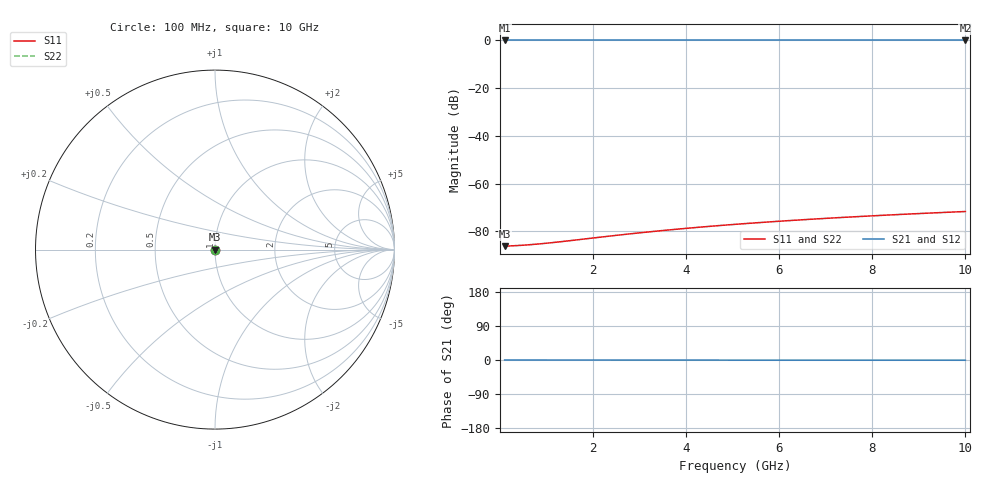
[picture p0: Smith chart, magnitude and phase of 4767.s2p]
# Hz S RI R 50.00
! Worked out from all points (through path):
!   100 points, 100 MHz to 10 GHz, reference 50 ohm
!   highest |S21| = 0.00 dB at 100 MHz (marker M1); lowest = 0.0 dB at 10 GHz (marker M2)
!   lowest |S11| = -86.1 dB at 100 MHz (marker M3), VSWR 1.00, Z = 50 + j0.000263 ohm
!   |S11| at or under -10 dB: start of sweep to end of sweep
!   |S22| runs from -86.1 to -71.6 dB; largest |S21 - S12| = 0
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1e8  4.92e-05 2.63e-06  0.9999 -0.000113  0.9999 -0.000113  4.92e-05 2.63e-06
1.8e9  5.08e-05 4.73e-05  0.9999 -0.00204  0.9999 -0.00204  5.08e-05 4.73e-05
3.2e9  5.13e-05 8.36e-05  0.9999 -0.00363  0.9999 -0.00363  5.13e-05 8.36e-05
3.3e9  5.13e-05 8.62e-05  0.9999 -0.00375  0.9999 -0.00375  5.13e-05 8.62e-05
3.4e9  5.14e-05 8.88e-05  0.9999 -0.00386  0.9999 -0.00386  5.14e-05 8.88e-05
3.8e9  5.15e-05 9.91e-05  0.9999 -0.00432  0.9999 -0.00432  5.15e-05 9.91e-05
4.2e9  5.16e-05 0.000109  0.9999 -0.00477  0.9999 -0.00477  5.16e-05 0.000109
4.6e9  5.18e-05 0.00012  0.9999 -0.00523  0.9999 -0.00523  5.18e-05 0.00012
4.8e9  5.19e-05 0.000125  0.9999 -0.00545  0.9999 -0.00545  5.19e-05 0.000125
5.1e9  5.2e-05 0.000132  0.9999 -0.0058  0.9999 -0.0058  5.2e-05 0.000132
5.5e9  5.22e-05 0.000143  0.9999 -0.00625  0.9999 -0.00625  5.22e-05 0.000143
5.9e9  5.23e-05 0.000153  0.9999 -0.00671  0.9999 -0.00671  5.23e-05 0.000153
6.3e9  5.25e-05 0.000163  0.9999 -0.00716  0.9999 -0.00716  5.25e-05 0.000163
6.7e9  5.27e-05 0.000173  0.9999 -0.00762  0.9999 -0.00762  5.27e-05 0.000173
7.1e9  5.29e-05 0.000183  0.9999 -0.00807  0.9999 -0.00807  5.29e-05 0.000183
7.5e9  5.31e-05 0.000193  0.9999 -0.00853  0.9999 -0.00853  5.31e-05 0.000193
7.9e9  5.33e-05 0.000203  0.9999 -0.00899  0.9999 -0.00899  5.33e-05 0.000203
8.4e9  5.36e-05 0.000216  0.9999 -0.00956  0.9999 -0.00956  5.36e-05 0.000216
8.8e9  5.39e-05 0.000226  0.9999 -0.01  0.9999 -0.01  5.39e-05 0.000226
9.2e9  5.41e-05 0.000236  0.9999 -0.0105  0.9999 -0.0105  5.41e-05 0.000236
9.6e9  5.44e-05 0.000246  0.9999 -0.0109  0.9999 -0.0109  5.44e-05 0.000246
1e10  5.46e-05 0.000256  0.9999 -0.0114  0.9999 -0.0114  5.46e-05 0.000256
